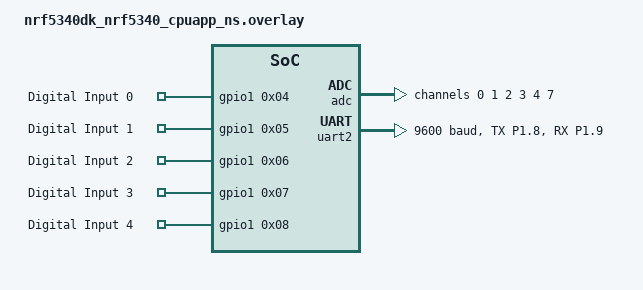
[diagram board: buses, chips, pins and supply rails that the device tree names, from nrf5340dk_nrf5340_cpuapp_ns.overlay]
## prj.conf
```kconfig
CONFIG_NORDIC_QSPI_NOR=y


CONFIG_FLASH=y
CONFIG_FLASH_PAGE_LAYOUT=y
CONFIG_NVS=y
CONFIG_LOG=y
CONFIG_LOG_MODE_IMMEDIATE=y
CONFIG_NVS_LOG_LEVEL_DBG=y
CONFIG_REBOOT=y

CONFIG_MPU_ALLOW_FLASH_WRITE=y

CONFIG_PM_PARTITION_REGION_NVS_STORAGE_EXTERNAL=y
CONFIG_FLASH_MAP=y
CONFIG_PARTITION_MANAGER_ENABLED=y
CONFIG_FILE_SYSTEM=y
CONFIG_PM_PARTITION_SIZE_NVS_STORAGE=0x800000
```

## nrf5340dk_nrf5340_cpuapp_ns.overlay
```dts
// To get started, press Ctrl+Space to bring up the completion menu and view the available nodes.

// You can also use the buttons in the sidebar to perform actions on nodes.
// Actions currently available include:

// * Enabling / disabling the node
// * Adding the bus to a bus
// * Removing the node
// * Connecting ADC channels

// For more help, browse the DeviceTree documentation at https://docs.zephyrproject.org/latest/guides/dts/index.html
// You can also visit the nRF DeviceTree extension documentation at https://nrfconnect.github.io/vscode-nrf-connect/devicetree/nrfdevicetree.html
/{
	
	chosen {
		nordic,nus-uart = &uart0;
		nordic,pm-ext-flash = &mx25r64;
		nordic,nrf-adc  = &adc; 
		
	};

	aliases {
		adc = &adc;
		dg0 = &dig0;
		dg1 = &dig1;
		dg2 = &dig2;
		dg3 = &dig3;
		dg4 = &dig4;
		external-mx25 = &mx25r64;
	
	};

	digital {
		compatible = "gpio-keys";
		dig0: dig_0 {
			gpios = < &gpio1 0x04 (GPIO_PULL_UP | GPIO_ACTIVE_HIGH) >;
			label = "Digital Input 0";
			
		};
		dig1: dig_1 {
			gpios = < &gpio1 0x05 (GPIO_PULL_UP | GPIO_ACTIVE_HIGH) >;
			label = "Digital Input 1";
		};
		dig2: dig_2 {
			gpios = < &gpio1 0x06 (GPIO_PULL_UP | GPIO_ACTIVE_HIGH) >;
			label = "Digital Input 2";
		};
		dig3: dig_3 {
			gpios = < &gpio1 0x07 (GPIO_PULL_UP | GPIO_ACTIVE_HIGH) >;
			label = "Digital Input 3";
		};
		dig4: dig_4 {
			gpios = < &gpio1 0x08 (GPIO_PULL_UP | GPIO_ACTIVE_HIGH) >;
			label = "Digital Input 4";
		};

	};

 };

//https://developer.nordicsemi.com/nRF_Connect_SDK/doc/latest/zephyr/build/dts/api/bindings/adc/nordic%2Cnrf-adc.html#dtbinding-nordic-nrf-adc
//https://developer.nordicsemi.com/nRF_Connect_SDK/doc/latest/zephyr/build/dts/api/bindings.html#nordic-semiconductor-nordic


&adc {
	#address-cells = <1>;
	#size-cells = <0>;
	
   /* verify c:\ncs\v2.3.0-rc1\zephyr\boards\arm\nrf5340dk_nrf5340\nrf5340_cpuapp_common.dts
   <0 &adc 0>,	/* A0 = P0.4 = AIN0 
   <1 &adc 1>,	/* A1 = P0.5 = AIN1 
   <2 &adc 2>,	/* A2 = P0.6 = AIN2 
   <3 &adc 3>,	/* A3 = P0.7 = AIN3 
   <4 &adc 4>,	/* A4 = P0.25 = AIN4 */


	channel@0 {
		reg = <0>;
		zephyr,gain = "ADC_GAIN_1_6";
		zephyr,reference = "ADC_REF_INTERNAL";
		zephyr,acquisition-time = <ADC_ACQ_TIME_DEFAULT>;
		zephyr,input-positive = <NRF_SAADC_AIN1>; /* P0.05 */
		zephyr,resolution = <14>;
	};

	channel@1 {
		reg = <1>;
		zephyr,gain = "ADC_GAIN_1_6";
		zephyr,reference = "ADC_REF_INTERNAL";
		zephyr,acquisition-time = <ADC_ACQ_TIME_DEFAULT>;
		zephyr,input-positive = <NRF_SAADC_AIN2>; /* P0.06 */
		zephyr,resolution = <14>;
		zephyr,oversampling = <8>;
	};

	channel@2 {
		reg = <2>;
		zephyr,gain = "ADC_GAIN_1_6";
		zephyr,reference = "ADC_REF_INTERNAL";
		zephyr,acquisition-time = <ADC_ACQ_TIME_DEFAULT>;
		zephyr,input-positive = <NRF_SAADC_AIN3>; /* P0.07 */
		zephyr,resolution = <14>;
		zephyr,oversampling = <8>;
	};

	channel@3 {
		reg = <3>;
		zephyr,gain = "ADC_GAIN_1_6";
		zephyr,reference = "ADC_REF_INTERNAL";
		zephyr,acquisition-time = <ADC_ACQ_TIME_DEFAULT>;
		zephyr,input-positive = <NRF_SAADC_AIN4>;/* P0.25 */ 
		zephyr,resolution = <14>;
		zephyr,oversampling = <8>;
	};

	channel@4 {
		reg = <4>;
		zephyr,gain = "ADC_GAIN_1_6";
		zephyr,reference = "ADC_REF_INTERNAL";
		zephyr,acquisition-time = <ADC_ACQ_TIME_DEFAULT>;
		zephyr,input-positive = <NRF_SAADC_VDD>; //VDD
		zephyr,resolution = <14>;
		zephyr,oversampling = <8>;
	};

	channel@7 {
		reg = <7>;
		zephyr,gain = "ADC_GAIN_1_5";
		zephyr,reference = "ADC_REF_VDD_1_4";
		zephyr,vref-mv = <750>;
		zephyr,acquisition-time = <ADC_ACQ_TIME_DEFAULT>;
		zephyr,input-positive = <NRF_SAADC_AIN6>; /* P0.30 */
		zephyr,input-negative = <NRF_SAADC_AIN7>; /* P0.31 */
		zephyr,resolution = <12>;
	};
	io-channels = <&adc 0>, <&adc 1>,<&adc 2>,<&adc 3>,<&adc 4>,<&adc 7>;
};



 
/* 
&mx25r64 {
		
	partitions {
	 compatible = "fixed-partitions";
	 #address-cells = <1>;
	 #size-cells = <1>;
	 
	 partition1: partition@0 {
		label = "partitionA";  //32 pages of 4kbytes = 128k
		reg = <0x00000000 0x000002FFF>;
	
	 };
     
	 partition2:partition@3000 {
		label = "partitionB"; //32 pages of 4kbytes = 128k
		reg = <0x00003000 0x000002FFF>;
	
	 };

	 partition3:partition@40000 {
		label = "partitionC";      //48 pages of 4bytes = 192k
		reg = <0x00040000 0x00002FFFF>;
	
	 };

	 partition4:partition@70000 {
		label = "partitionD";   //48 pages of 4kbytes = 192k
		reg = <0x00070000 0x00002FFFF>;
	
	 };

	 partition5:partition@110000 {
		label = "partitionE"; //1797 pages of 4kbytes = 7Mb
		reg = <0x00110000 0x0007FFFFF>;
	
	 };
        //TOTAL USED 768K

	};

};
*/

&pinctrl {
	uart2_default: uart2_default {
        group1 {
            psels = <NRF_PSEL(UART_TX, 1, 8)>;
        };

        group2 {
            psels = <NRF_PSEL(UART_RX, 1, 9)>;
            bias-pull-up;
        };

    };

	uart2_sleep: uart2_sleep {

        group1 {
            psels = <NRF_PSEL(UART_TX, 1, 8)>,
                     <NRF_PSEL(UART_RX, 1, 9)>;
            low-power-enable;
        };

    };

};

&uart2 {
    label="teste123";
	status = "okay";
    current-speed = <9600>;
    pinctrl-0 = <&uart2_default>;
    pinctrl-1 = <&uart2_sleep>;
    pinctrl-names = "default", "sleep";

	
};
```

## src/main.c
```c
/*
 * NVS Sample for Zephyr using high level API, the sample illustrates the usage
 * of NVS for storing data of different kind (strings, binary blobs, unsigned
 * 32 bit integer) and also how to read them back from flash. The reading of
 * data is illustrated for both a basic read (latest added value) as well as
 * reading back the history of data (previously added values). Next to reading
 * and writing data it also shows how data can be deleted from flash.
 *
 * The sample stores the following items:
 * 1. A string representing an IP-address: stored at id=1, data="192.168.1.1"
 * 2. A binary blob representing a key: stored at id=2, data=FF FE FD FC FB FA
 *    F9 F8
 * 3. A reboot counter (32bit): stored at id=3, data=reboot_counter
 * 4. A string: stored at id=4, data="DATA" (used to illustrate deletion of
 * items)
 *
 * At first boot the sample checks if the data is available in flash and adds
 * the items if they are not in flash.
 *
 * Every reboot increases the values of the reboot_counter and updates it in
 * flash.
 *
 * At the 10th reboot the string item with id=4 is deleted (or marked for
 * deletion).
 *
 * At the 11th reboot the string item with id=4 can no longer be read with the
 * basic nvs_read() function as it has been deleted. It is possible to read the
 * value with nvs_read_hist()
 *
 * At the 78th reboot the first sector is full and a new sector is taken into
 * use. The data with id=1, id=2 and id=3 is copied to the new sector. As a
 * result of this the history of the reboot_counter will be removed but the
 * latest values of address, key and reboot_counter is kept.
 *
 * Copyright (c) 2018 Laczen
 *
 * SPDX-License-Identifier: Apache-2.0
 */


#include <zephyr/kernel.h>
#include <zephyr/sys/reboot.h>
#include <zephyr/device.h>
#include <string.h>
#include <zephyr/drivers/flash.h>
#include <zephyr/storage/flash_map.h>
#include <zephyr/fs/nvs.h>

static struct nvs_fs fs;

#define NVS_PARTITION		storage_partition
#define NVS_PARTITION_DEVICE	FIXED_PARTITION_DEVICE(NVS_PARTITION)
#define NVS_PARTITION_OFFSET	FIXED_PARTITION_OFFSET(NVS_PARTITION)

/* 1000 msec = 1 sec */
#define SLEEP_TIME      100
/* maximum reboot counts, make high enough to trigger sector change (buffer */
/* rotation). */
#define MAX_REBOOT 400

#define ADDRESS_ID 1
#define KEY_ID 2
#define RBT_CNT_ID 3
#define STRING_ID 4
#define LONG_ID 5


void main(void)
{
	int rc = 0, cnt = 0, cnt_his = 0;
	char buf[16];
	uint8_t key[8], longarray[128];
	uint32_t reboot_counter = 0U, reboot_counter_his;
	struct flash_pages_info info;

	/* define the nvs file system by settings with:
	 *	sector_size equal to the pagesize,
	 *	3 sectors
	 *	starting at NVS_PARTITION_OFFSET
	 */
	fs.flash_device = NVS_PARTITION_DEVICE;
	
	if (!device_is_ready(fs.flash_device)) {
		printk("Flash device %s is not ready\n", fs.flash_device->name);
		return;
	}
	fs.offset = NVS_PARTITION_OFFSET;
	rc = flash_get_page_info_by_offs(fs.flash_device, fs.offset, &info);
	if (rc) {
		printk("Unable to get page info\n");
		return;
	}
	fs.sector_size = info.size;
	fs.sector_count = 2048U; //NUMBER OF SECTORS total 0X800000 BYTES

	rc = nvs_mount(&fs);
	if (rc) {
		printk("Flash Init failed\n");
		return;
	}

	/* ADDRESS_ID is used to store an address, lets see if we can
	 * read it from flash, since we don't know the size read the
	 * maximum possible
	 */
	rc = nvs_read(&fs, ADDRESS_ID, &buf, sizeof(buf));
	if (rc > 0) { /* item was found, show it */
		printk("Id: %d, Address: %s\n", ADDRESS_ID, buf);
	} else   {/* item was not found, add it */
		strcpy(buf, "192.168.1.1");
		printk("No address found, adding %s at id %d\n", buf,
		       ADDRESS_ID);
		(void)nvs_write(&fs, ADDRESS_ID, &buf, strlen(buf)+1);
	}
	/* KEY_ID is used to store a key, lets see if we can read it from flash
	 */
	rc = nvs_read(&fs, KEY_ID, &key, sizeof(key));
	if (rc > 0) { /* item was found, show it */
		printk("Id: %d, Key: ", KEY_ID);
		for (int n = 0; n < 8; n++) {
			printk("%x ", key[n]);
		}
		printk("\n");
	} else   {/* item was not found, add it */
		printk("No key found, adding it at id %d\n", KEY_ID);
		key[0] = 0xFF;
		key[1] = 0xFE;
		key[2] = 0xFD;
		key[3] = 0xFC;
		key[4] = 0xFB;
		key[5] = 0xFA;
		key[6] = 0xF9;
		key[7] = 0xF8;
		(void)nvs_write(&fs, KEY_ID, &key, sizeof(key));
	}
	/* RBT_CNT_ID is used to store the reboot counter, lets see
	 * if we can read it from flash
	 */
	rc = nvs_read(&fs, RBT_CNT_ID, &reboot_counter, sizeof(reboot_counter));
	if (rc > 0) { /* item was found, show it */
		printk("Id: %d, Reboot_counter: %d\n",
			RBT_CNT_ID, reboot_counter);
	} else   {/* item was not found, add it */
		printk("No Reboot counter found, adding it at id %d\n",
		       RBT_CNT_ID);
		(void)nvs_write(&fs, RBT_CNT_ID, &reboot_counter,
			  sizeof(reboot_counter));
	}
	/* STRING_ID is used to store data that will be deleted,lets see
	 * if we can read it from flash, since we don't know the size read the
	 * maximum possible
	 */
	rc = nvs_read(&fs, STRING_ID, &buf, sizeof(buf));
	if (rc > 0) {
		/* item was found, show it */
		printk("Id: %d, Data: %s\n",
			STRING_ID, buf);
		/* remove the item if reboot_counter = 10 */
		if (reboot_counter == 10U) {
			(void)nvs_delete(&fs, STRING_ID);
		}
	} else   {
		/* entry was not found, add it if reboot_counter = 0*/
		if (reboot_counter == 0U) {
			printk("Id: %d not found, adding it\n",
			STRING_ID);
			strcpy(buf, "DATA");
			(void)nvs_write(&fs, STRING_ID, &buf, strlen(buf) + 1);
		}
	}

	/* LONG_ID is used to store a larger dataset ,lets see if we can read
	 * it from flash
	 */
	rc = nvs_read(&fs, LONG_ID, &longarray, sizeof(longarray));
	if (rc > 0) {
		/* item was found, show it */
		printk("Id: %d, Longarray: ", LONG_ID);
		for (int n = 0; n < sizeof(longarray); n++) {
			printk("%x ", longarray[n]);
		}
		printk("\n");
	} else   {
		/* entry was not found, add it if reboot_counter = 0*/
		if (reboot_counter == 0U) {
			printk("Longarray not found, adding it as id %d\n",
			       LONG_ID);
			for (int n = 0; n < sizeof(longarray); n++) {
				longarray[n] = n;
			}
			(void)nvs_write(
				&fs, LONG_ID, &longarray, sizeof(longarray));
		}
	}

	cnt = 5;
	while (1) {
		k_msleep(SLEEP_TIME);
		if (reboot_counter < MAX_REBOOT) {
			if (cnt == 5) {
				/* print some history information about
				 * the reboot counter
				 * Check the counter history in flash
				 */
				printk("Reboot counter history: ");
				while (1) {
					rc = nvs_read_hist(
						&fs, RBT_CNT_ID,
						&reboot_counter_his,
						sizeof(reboot_counter_his),
						cnt_his);
					if (rc < 0) {
						break;
					}
					printk("...%d", reboot_counter_his);
					cnt_his++;
				}
				if (cnt_his == 0) {
					printk("\n Error, no Reboot counter");
				} else {
					printk("\nOldest reboot counter: %d",
					       reboot_counter_his);
				}
				printk("\nRebooting in ");
			}
			printk("...%d", cnt);
			cnt--;
			if (cnt == 0) {
				printk("\n");
				reboot_counter++;
				(void)nvs_write(
					&fs, RBT_CNT_ID, &reboot_counter,
					sizeof(reboot_counter));
				if (reboot_counter == MAX_REBOOT) {
					printk("Doing last reboot...\n");
				}
				sys_reboot(0);
			}
		} else {
			printk("Reboot counter reached max value.\n");
			printk("Reset to 0 and exit test.\n");
			reboot_counter = 0U;
			(void)nvs_write(&fs, RBT_CNT_ID, &reboot_counter,
			  sizeof(reboot_counter));
			break;
		}
	}
}
```
